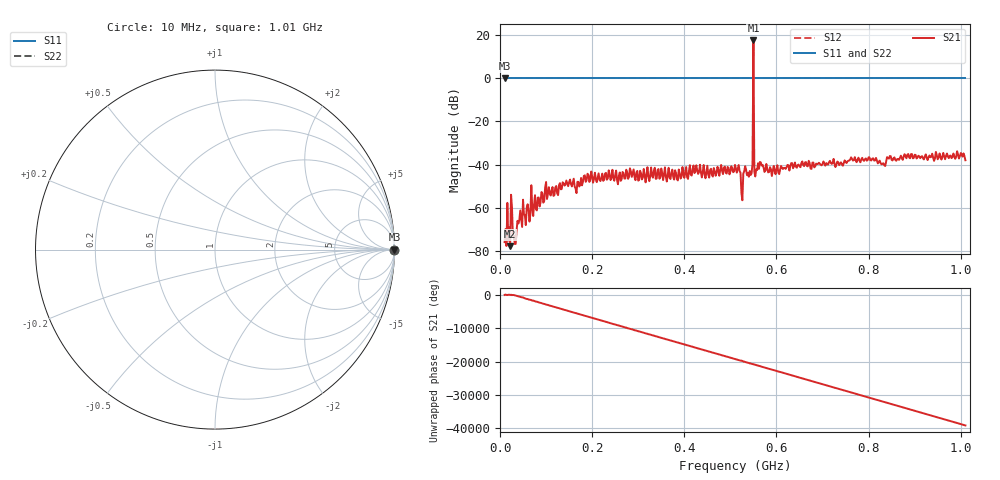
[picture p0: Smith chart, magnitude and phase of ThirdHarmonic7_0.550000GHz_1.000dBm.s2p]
! 8/17/2025 4:40:09 PM
! C:\ANRITSUVNA\TEMP\TEMP.S2P
! CHANNEL.1
! TR.MEASUREMENT
! RAW.DATA
! RF.CORRECTION.OFF
! AVERAGING.OFF
! IF.BANDWIDTH: 5KHZ
! SWEEPTYPE:  FREQ.SWEEP(Linear)
! Reference Plane Port Info
! PORT:  PORT1  PORT2
! DISTANCE:  0  m  0  m
! TIME:  0  s  0  s
! PHASE.OFFSET:  0  deg.  0  deg.
! LOSS:  0  dB  0  dB
! REF.LOSS:  0  dB  0  dB
! REF.FREQ:  0  Hz  0  Hz
! Power Info
! POWER:  -20  dBm  -20  dBm
! EFF.POWER:  -20  dBm  -20  dBm
! SOURCE.ATTEN:  0  dB  0  dB
! TEST.ATTEN:  0  dB  0  dB
# GHZ S RI R 50.0
! FREQ.GHZ  S11RE  S11IM  S21RE  S21IM  S12RE  S12IM  S22RE  S22IM
!; PortSelection: Port_12
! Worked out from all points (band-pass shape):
!   501 points, 10 MHz to 1.01 GHz, reference 50 ohm
!   highest |S21| = 17.60 dB at 550 MHz (marker M1); lowest = -77.9 dB at 22 MHz (marker M2)
!   |S21| within 3 dB of the highest: 549.8952 MHz to 550.0982 MHz (203 kHz wide, 0.0369 % of centre)
!   lowest |S11| = 0.0 dB at 10 MHz (marker M3)
!   |S11| at or under -10 dB: nowhere
!   |S22| runs from 0.0 to 0.0 dB; largest |S21 - S12| = 7.2
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0.01  1 0  -9.31e-05 0.000128  1 0  1 0
0.022  1 0  -4.09e-05 0.000121  1 0  1 0
0.028  1 0  -6.4e-05 0.00021  1 0  1 0
0.032  1 0  0.000143 1.16e-05  1 0  1 0
0.046  1 0  -0.00034 0.000451  1 0  1 0
0.102  1 0  0.00123 0.001  1 0  1 0
0.178  1 0  -0.00311 -0.00108  1 0  1 0
0.344  1 0  0.00756 -0.00217  1 0  1 0
0.51  1 0  -0.00938 -0.00289  1 0  1 0
0.518  1 0  -0.00665 -0.00714  1 0  1 0
0.524  1 0  0.00134 0.0017  1 0  1 0
0.532  1 0  0.0072 0.00564  1 0  1 0
0.544  1 0  -0.000813 -0.00567  1 0  1 0
0.546  1 0  -0.0057 -0.00245  1 0  1 0
0.55  1 0  3.004 6.967  1 0  1 0
0.554  1 0  -0.00225 -0.00479  1 0  1 0
0.556  1 0  -0.00766 0.0013  1 0  1 0
0.678  1 0  0.00671 -0.00885  1 0  1 0
0.766  1 0  0.0122 0.0021  1 0  1 0
0.832  1 0  -0.00565 -0.00911  1 0  1 0
0.844  1 0  -0.00853 0.0107  1 0  1 0
1.01  1 0  0.00213 -0.0124  1 0  1 0
